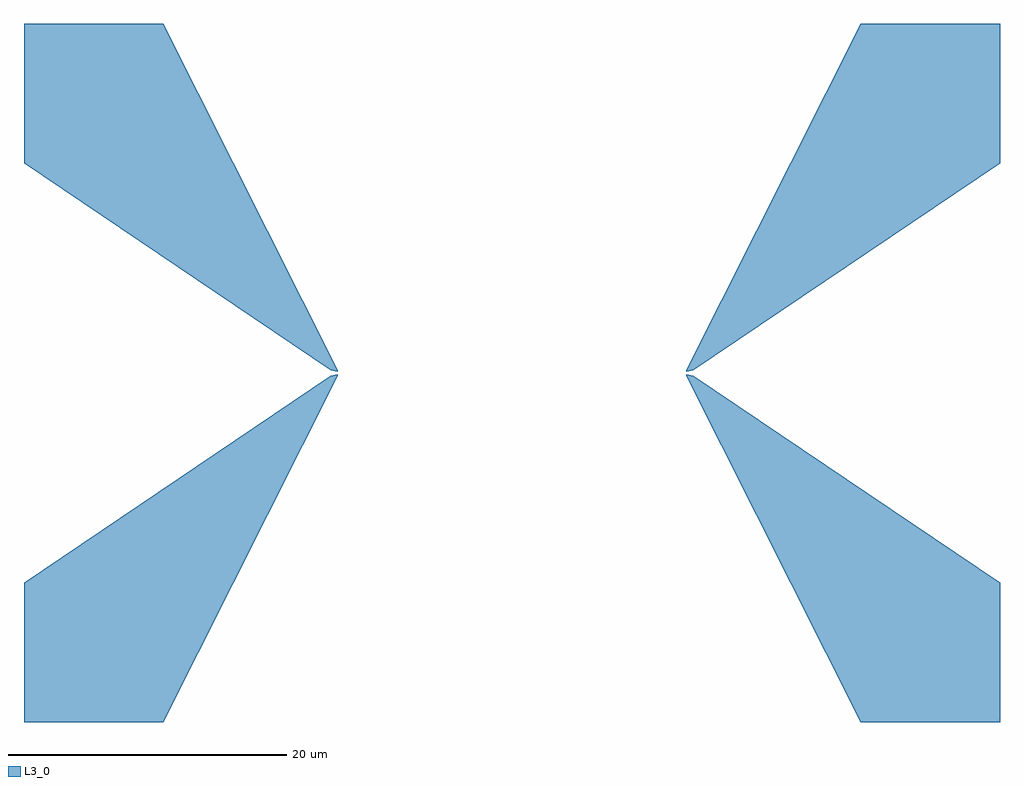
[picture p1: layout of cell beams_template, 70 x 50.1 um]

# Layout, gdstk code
from math import pi, radians
import gdstk
lib = gdstk.Library(unit=1e-6, precision=1e-09)
def R(c, l, rs):  # rectangles x0, y0, x1, y1
    for r in rs: c.add(gdstk.rectangle(r[:2], r[2:], *l))
def P(c, l, *ps):  # polygons
    for p in ps: c.add(gdstk.Polygon(p, *l))
L3_0 = (3, 0)

arm_part_1 = lib.new_cell('arm_part_1')
R(arm_part_1, L3_0, [(0,14.95,10,24.95), (0,14.95,10,24.95)])
P(arm_part_1, L3_0, [(22.5,0.1),(22.5,0),(22,0.1),(0,14.95),(10,24.95)],
  [(22.5,0.1),(22.5,0),(22,0.1),(0,14.95),(10,24.95)])

beams_template = lib.new_cell('beams_template')
beams_template.add(gdstk.Reference(arm_part_1, (-35,0.1)))
beams_template.add(gdstk.Reference(arm_part_1, (-35,-0.1), x_reflection=True))
beams_template.add(gdstk.Reference(arm_part_1, (35,0.1), rotation=pi, x_reflection=True))
beams_template.add(gdstk.Reference(arm_part_1, (35,-0.1), rotation=pi))

lib.write_gds('beams_template.gds')
